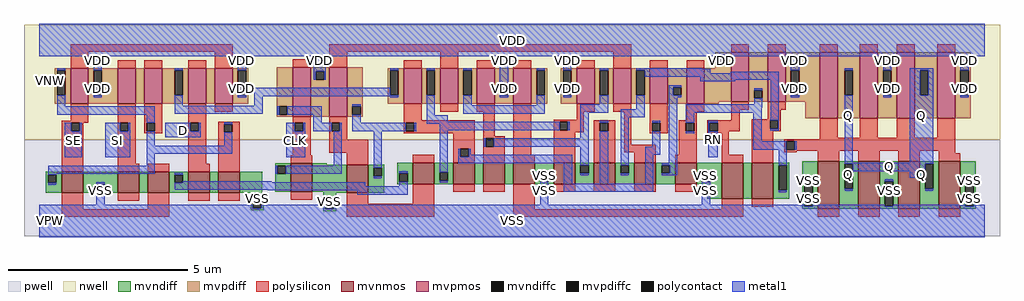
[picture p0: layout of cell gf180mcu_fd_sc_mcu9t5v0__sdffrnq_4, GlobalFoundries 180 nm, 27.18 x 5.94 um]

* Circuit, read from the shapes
.subckt gf180mcu_fd_sc_mcu9t5v0__sdffrnq_4 D RN SE SI CLK Q VDD VNW VPW VSS
XM1 VSS SE n1 VPW nfet_06v0 w=0.59u l=0.6u
XM2 n2 SI VSS VPW nfet_06v0 w=0.59u l=0.6u
XM3 n3 SE n2 VPW nfet_06v0 w=0.59u l=0.6u
XM4 n4 D n3 VPW nfet_06v0 w=0.59u l=0.6u
XM5 VSS n1 n4 VPW nfet_06v0 w=0.59u l=0.6u
XM6 VSS CLK n5 VPW nfet_06v0 w=0.79u l=0.6u
XM7 n6 n5 VSS VPW nfet_06v0 w=0.79u l=0.6u
XM8 n7 n5 n3 VPW nfet_06v0 w=0.59u l=0.6u
XM9 n8 n6 n7 VPW nfet_06v0 w=0.59u l=0.6u
XM10 n9 n10 n8 VPW nfet_06v0 w=0.59u l=0.6u
XM11 VSS RN n9 VPW nfet_06v0 w=0.59u l=0.6u
XM12 n10 n7 VSS VPW nfet_06v0 w=0.59u l=0.6u
XM13 n11 n6 n10 VPW nfet_06v0 w=0.59u l=0.6u
XM14 n12 n5 n11 VPW nfet_06v0 w=0.59u l=0.6u
XM15 VSS n13 n12 VPW nfet_06v0 w=0.59u l=0.6u
XM16 n14 RN VSS VPW nfet_06v0 w=1u l=0.6u
XM17 n13 n11 n14 VPW nfet_06v0 w=1u l=0.6u
XM18 Q n13 VSS VPW nfet_06v0 w=1.32u l=0.6u m=4
XM19 VDD SE n1 VNW pfet_06v0 w=1u l=0.5u
XM20 n15 SI VDD VNW pfet_06v0 w=1u l=0.5u
XM21 n16 n1 n15 VNW pfet_06v0 w=1u l=0.5u
XM22 n17 D n16 VNW pfet_06v0 w=1u l=0.5u
XM23 VDD SE n17 VNW pfet_06v0 w=1u l=0.5u
XM24 VDD CLK n5 VNW pfet_06v0 w=1.38u l=0.5u
XM25 n6 n5 VDD VNW pfet_06v0 w=1.38u l=0.5u
XM26 n7 n6 n16 VNW pfet_06v0 w=1u l=0.5u
XM27 n18 n5 n7 VNW pfet_06v0 w=1u l=0.5u
XM28 VDD n10 n18 VNW pfet_06v0 w=1u l=0.5u
XM29 n18 RN VDD VNW pfet_06v0 w=1u l=0.5u
XM30 n10 n7 VDD VNW pfet_06v0 w=1u l=0.5u
XM31 n11 n5 n10 VNW pfet_06v0 w=1u l=0.5u
XM32 n12 n6 n11 VNW pfet_06v0 w=1u l=0.5u
XM33 VDD n13 n12 VNW pfet_06v0 w=1u l=0.5u
XM34 n13 RN VDD VNW pfet_06v0 w=1.38u l=0.5u
XM35 VDD n11 n13 VNW pfet_06v0 w=1.38u l=0.5u
XM36 Q n13 VDD VNW pfet_06v0 w=1.83u l=0.5u m=4
.ends

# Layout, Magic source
magic
tech gf180mcuD
magscale 1 10
<< nwell >>
rect -86 453 5350 1094
<< pwell >>
rect -86 -86 5350 453
<< mvnmos >>
rect 124 156 244 274
rect 436 156 556 274
rect 604 156 724 274
rect 828 156 948 274
rect 996 156 1116 274
rect 1400 163 1520 321
rect 1712 156 1832 314
rect 2080 206 2200 324
rect 2304 206 2424 324
rect 2472 206 2592 324
rect 2640 206 2760 324
rect 2864 206 2984 324
rect 3088 206 3208 324
rect 3312 206 3432 324
rect 3540 206 3660 324
rect 3800 124 3920 324
rect 3968 124 4088 324
rect 4336 68 4456 332
rect 4560 68 4680 332
rect 4784 68 4904 332
rect 5008 68 5128 332
<< mvpmos >>
rect 173 652 273 852
rect 436 652 536 852
rect 584 652 684 852
rect 828 652 928 852
rect 976 652 1076 852
rect 1410 580 1510 856
rect 1614 580 1714 856
rect 2028 652 2128 852
rect 2232 652 2332 852
rect 2436 652 2536 852
rect 2640 652 2740 852
rect 2992 652 3092 852
rect 3196 652 3296 852
rect 3400 652 3500 852
rect 3604 652 3704 852
rect 3852 664 3952 940
rect 4056 664 4156 940
rect 4346 573 4446 939
rect 4570 573 4670 939
rect 4776 573 4876 939
rect 5000 573 5100 939
<< mvndiff >>
rect 1312 308 1400 321
rect 36 258 124 274
rect 36 212 49 258
rect 95 212 124 258
rect 36 156 124 212
rect 244 205 436 274
rect 244 159 317 205
rect 363 159 436 205
rect 244 156 436 159
rect 556 156 604 274
rect 724 258 828 274
rect 724 212 753 258
rect 799 212 828 258
rect 724 156 828 212
rect 948 156 996 274
rect 1116 156 1240 274
rect 1312 262 1325 308
rect 1371 262 1400 308
rect 1312 163 1400 262
rect 1520 314 1600 321
rect 1520 163 1712 314
rect 304 146 376 156
rect 1176 130 1240 156
rect 1176 118 1248 130
rect 1580 156 1712 163
rect 1832 296 1920 314
rect 1832 250 1861 296
rect 1907 250 1920 296
rect 1832 156 1920 250
rect 1992 265 2080 324
rect 1992 219 2005 265
rect 2051 219 2080 265
rect 1992 206 2080 219
rect 2200 271 2304 324
rect 2200 225 2229 271
rect 2275 225 2304 271
rect 2200 206 2304 225
rect 2424 206 2472 324
rect 2592 206 2640 324
rect 2760 265 2864 324
rect 2760 219 2789 265
rect 2835 219 2864 265
rect 2760 206 2864 219
rect 2984 311 3088 324
rect 2984 265 3013 311
rect 3059 265 3088 311
rect 2984 206 3088 265
rect 3208 311 3312 324
rect 3208 265 3237 311
rect 3283 265 3312 311
rect 3208 206 3312 265
rect 3432 311 3540 324
rect 3432 265 3465 311
rect 3511 265 3540 311
rect 3432 206 3540 265
rect 3660 265 3800 324
rect 3660 219 3689 265
rect 3735 219 3800 265
rect 3660 206 3800 219
rect 1176 72 1189 118
rect 1235 72 1248 118
rect 1176 59 1248 72
rect 1580 113 1652 156
rect 1580 67 1593 113
rect 1639 67 1652 113
rect 1580 54 1652 67
rect 3720 124 3800 206
rect 3920 124 3968 324
rect 4088 311 4176 324
rect 4088 171 4117 311
rect 4163 171 4176 311
rect 4088 124 4176 171
rect 4248 221 4336 332
rect 4248 81 4261 221
rect 4307 81 4336 221
rect 4248 68 4336 81
rect 4456 319 4560 332
rect 4456 179 4485 319
rect 4531 179 4560 319
rect 4456 68 4560 179
rect 4680 221 4784 332
rect 4680 81 4709 221
rect 4755 81 4784 221
rect 4680 68 4784 81
rect 4904 319 5008 332
rect 4904 179 4933 319
rect 4979 179 5008 319
rect 4904 68 5008 179
rect 5128 221 5216 332
rect 5128 81 5157 221
rect 5203 81 5216 221
rect 5128 68 5216 81
<< mvpdiff >>
rect 85 839 173 852
rect 85 699 98 839
rect 144 699 173 839
rect 85 652 173 699
rect 273 839 436 852
rect 273 699 302 839
rect 348 699 436 839
rect 273 652 436 699
rect 536 652 584 852
rect 684 839 828 852
rect 684 699 753 839
rect 799 699 828 839
rect 684 652 828 699
rect 928 652 976 852
rect 1076 839 1164 852
rect 1076 699 1105 839
rect 1151 699 1164 839
rect 1076 652 1164 699
rect 1322 639 1410 856
rect 1322 593 1335 639
rect 1381 593 1410 639
rect 1322 580 1410 593
rect 1510 834 1614 856
rect 1510 788 1539 834
rect 1585 788 1614 834
rect 1510 580 1614 788
rect 1714 639 1802 856
rect 3764 927 3852 940
rect 3764 881 3777 927
rect 3823 881 3852 927
rect 3764 852 3852 881
rect 1940 839 2028 852
rect 1940 699 1953 839
rect 1999 699 2028 839
rect 1940 652 2028 699
rect 2128 839 2232 852
rect 2128 699 2157 839
rect 2203 699 2232 839
rect 2128 652 2232 699
rect 2332 839 2436 852
rect 2332 699 2361 839
rect 2407 699 2436 839
rect 2332 652 2436 699
rect 2536 747 2640 852
rect 2536 701 2565 747
rect 2611 701 2640 747
rect 2536 652 2640 701
rect 2740 839 2828 852
rect 2740 699 2769 839
rect 2815 699 2828 839
rect 2740 652 2828 699
rect 2904 839 2992 852
rect 2904 699 2917 839
rect 2963 699 2992 839
rect 2904 652 2992 699
rect 3092 839 3196 852
rect 3092 699 3121 839
rect 3167 699 3196 839
rect 3092 652 3196 699
rect 3296 839 3400 852
rect 3296 699 3325 839
rect 3371 699 3400 839
rect 3296 652 3400 699
rect 3500 745 3604 852
rect 3500 699 3529 745
rect 3575 699 3604 745
rect 3500 652 3604 699
rect 3704 664 3852 852
rect 3952 729 4056 940
rect 3952 683 3981 729
rect 4027 683 4056 729
rect 3952 664 4056 683
rect 4156 939 4236 940
rect 4156 839 4346 939
rect 4156 699 4185 839
rect 4231 699 4346 839
rect 4156 664 4346 699
rect 3704 652 3784 664
rect 1714 593 1743 639
rect 1789 593 1802 639
rect 1714 580 1802 593
rect 4266 573 4346 664
rect 4446 839 4570 939
rect 4446 699 4485 839
rect 4531 699 4570 839
rect 4446 573 4570 699
rect 4670 839 4776 939
rect 4670 699 4699 839
rect 4745 699 4776 839
rect 4670 573 4776 699
rect 4876 839 5000 939
rect 4876 699 4905 839
rect 4951 699 5000 839
rect 4876 573 5000 699
rect 5100 839 5188 939
rect 5100 699 5129 839
rect 5175 699 5188 839
rect 5100 573 5188 699
<< mvndiffc >>
rect 49 212 95 258
rect 317 159 363 205
rect 753 212 799 258
rect 1325 262 1371 308
rect 1861 250 1907 296
rect 2005 219 2051 265
rect 2229 225 2275 271
rect 2789 219 2835 265
rect 3013 265 3059 311
rect 3237 265 3283 311
rect 3465 265 3511 311
rect 3689 219 3735 265
rect 1189 72 1235 118
rect 1593 67 1639 113
rect 4117 171 4163 311
rect 4261 81 4307 221
rect 4485 179 4531 319
rect 4709 81 4755 221
rect 4933 179 4979 319
rect 5157 81 5203 221
<< mvpdiffc >>
rect 98 699 144 839
rect 302 699 348 839
rect 753 699 799 839
rect 1105 699 1151 839
rect 1335 593 1381 639
rect 1539 788 1585 834
rect 3777 881 3823 927
rect 1953 699 1999 839
rect 2157 699 2203 839
rect 2361 699 2407 839
rect 2565 701 2611 747
rect 2769 699 2815 839
rect 2917 699 2963 839
rect 3121 699 3167 839
rect 3325 699 3371 839
rect 3529 699 3575 745
rect 3981 683 4027 729
rect 4185 699 4231 839
rect 1743 593 1789 639
rect 4485 699 4531 839
rect 4699 699 4745 839
rect 4905 699 4951 839
rect 5129 699 5175 839
<< polysilicon >>
rect 173 944 1076 984
rect 173 852 273 944
rect 436 852 536 896
rect 584 852 684 896
rect 828 852 928 896
rect 976 852 1076 944
rect 1614 944 3296 984
rect 1410 856 1510 900
rect 1614 856 1714 944
rect 173 559 273 652
rect 124 547 273 559
rect 436 547 536 652
rect 124 501 178 547
rect 224 501 244 547
rect 124 274 244 501
rect 436 501 449 547
rect 495 501 536 547
rect 436 318 536 501
rect 584 547 684 652
rect 584 501 597 547
rect 643 501 684 547
rect 584 488 684 501
rect 828 547 928 652
rect 976 608 1076 652
rect 2028 852 2128 896
rect 2232 852 2332 944
rect 2436 852 2536 896
rect 2640 852 2740 896
rect 2992 852 3092 896
rect 3196 852 3296 944
rect 3852 940 3952 984
rect 4056 940 4156 984
rect 3400 852 3500 896
rect 3604 852 3704 896
rect 4346 939 4446 983
rect 4570 939 4670 983
rect 4776 939 4876 983
rect 5000 939 5100 983
rect 828 501 841 547
rect 887 501 928 547
rect 828 318 928 501
rect 996 539 1116 552
rect 996 493 1029 539
rect 1075 493 1116 539
rect 436 274 556 318
rect 604 274 724 318
rect 828 274 948 318
rect 996 274 1116 493
rect 1410 547 1510 580
rect 1410 501 1423 547
rect 1469 501 1510 547
rect 1410 365 1510 501
rect 1614 547 1714 580
rect 1614 501 1627 547
rect 1673 501 1714 547
rect 1614 452 1714 501
rect 2028 560 2128 652
rect 2232 608 2332 652
rect 2436 608 2536 652
rect 2028 547 2424 560
rect 2028 501 2041 547
rect 2087 501 2424 547
rect 2028 488 2424 501
rect 1614 380 1832 452
rect 1400 321 1520 365
rect 1712 314 1832 380
rect 2304 403 2424 488
rect 2080 324 2200 368
rect 2304 357 2345 403
rect 2391 357 2424 403
rect 2304 324 2424 357
rect 2472 472 2536 608
rect 2472 460 2592 472
rect 2472 414 2485 460
rect 2531 414 2592 460
rect 2472 324 2592 414
rect 2640 368 2740 652
rect 2992 608 3092 652
rect 3196 608 3296 652
rect 2992 565 3032 608
rect 2864 552 3032 565
rect 2864 506 2897 552
rect 2943 506 3032 552
rect 2864 493 3032 506
rect 3088 547 3208 560
rect 3088 501 3121 547
rect 3167 501 3208 547
rect 2640 324 2760 368
rect 2864 324 2984 493
rect 3088 324 3208 501
rect 3256 424 3296 608
rect 3400 547 3500 652
rect 3604 608 3704 652
rect 3852 620 3952 664
rect 4056 620 4156 664
rect 3604 560 3660 608
rect 3852 560 3900 620
rect 4056 566 4128 620
rect 3400 501 3413 547
rect 3459 501 3500 547
rect 3400 488 3500 501
rect 3560 547 3660 560
rect 3560 501 3601 547
rect 3647 501 3660 547
rect 3256 384 3432 424
rect 3312 324 3432 384
rect 3560 368 3660 501
rect 3719 547 3900 560
rect 3719 501 3732 547
rect 3778 501 3900 547
rect 3719 500 3900 501
rect 3968 560 4128 566
rect 3968 514 4069 560
rect 4115 514 4128 560
rect 3968 501 4128 514
rect 3719 488 3840 500
rect 3540 324 3660 368
rect 3800 368 3840 488
rect 3800 324 3920 368
rect 3968 324 4088 501
rect 4346 464 4446 573
rect 4570 464 4670 573
rect 4776 464 4876 573
rect 5000 464 5100 573
rect 4346 456 5100 464
rect 4147 443 5100 456
rect 4147 397 4160 443
rect 4206 397 5100 443
rect 4147 392 5100 397
rect 4147 384 4218 392
rect 4336 332 4456 392
rect 4560 332 4680 392
rect 4784 332 4904 392
rect 5008 376 5100 392
rect 5008 332 5128 376
rect 124 64 244 156
rect 436 112 556 156
rect 604 64 724 156
rect 828 112 948 156
rect 996 112 1116 156
rect 1400 119 1520 163
rect 124 24 724 64
rect 1712 96 1832 156
rect 2080 96 2200 206
rect 2304 162 2424 206
rect 2472 162 2592 206
rect 1712 24 2200 96
rect 2640 64 2760 206
rect 2864 162 2984 206
rect 3088 162 3208 206
rect 3312 162 3432 206
rect 3540 162 3660 206
rect 3800 64 3920 124
rect 3968 80 4088 124
rect 2640 24 3920 64
rect 4336 24 4456 68
rect 4560 24 4680 68
rect 4784 24 4904 68
rect 5008 24 5128 68
<< polycontact >>
rect 178 501 224 547
rect 449 501 495 547
rect 597 501 643 547
rect 841 501 887 547
rect 1029 493 1075 539
rect 1423 501 1469 547
rect 1627 501 1673 547
rect 2041 501 2087 547
rect 2345 357 2391 403
rect 2485 414 2531 460
rect 2897 506 2943 552
rect 3121 501 3167 547
rect 3413 501 3459 547
rect 3601 501 3647 547
rect 3732 501 3778 547
rect 4069 514 4115 560
rect 4160 397 4206 443
<< metal1 >>
rect 0 927 5264 1098
rect 0 918 3777 927
rect 98 839 144 850
rect 98 639 144 699
rect 302 839 348 918
rect 302 688 348 699
rect 753 839 799 850
rect 753 642 799 699
rect 1105 839 1151 918
rect 1528 834 1596 918
rect 1528 788 1539 834
rect 1585 788 1596 834
rect 1953 839 1999 850
rect 1105 688 1151 699
rect 1197 699 1953 742
rect 1197 696 1999 699
rect 1197 642 1243 696
rect 1953 688 1999 696
rect 2157 839 2203 850
rect 98 593 643 639
rect 753 596 1243 642
rect 1743 639 1789 650
rect 1324 593 1335 639
rect 1381 593 1572 639
rect 597 547 643 593
rect 142 501 178 547
rect 224 501 235 547
rect 142 354 235 501
rect 366 501 449 547
rect 495 501 506 547
rect 366 354 506 501
rect 597 420 643 501
rect 702 501 841 547
rect 887 501 898 547
rect 702 466 898 501
rect 1029 539 1075 550
rect 1526 547 1572 593
rect 1743 547 1789 593
rect 2157 588 2203 699
rect 2361 839 2407 850
rect 2361 644 2407 699
rect 2565 747 2611 918
rect 2565 690 2611 701
rect 2769 839 2815 850
rect 2769 644 2815 699
rect 2917 839 2963 918
rect 3823 918 5264 927
rect 3777 870 3823 881
rect 2917 688 2963 699
rect 3121 839 3167 850
rect 3121 650 3167 699
rect 2361 598 2815 644
rect 3013 604 3167 650
rect 3325 849 3690 850
rect 3325 839 3736 849
rect 3371 824 3736 839
rect 4185 839 4231 918
rect 3849 824 4119 832
rect 3371 804 4119 824
rect 3680 786 4119 804
rect 3680 778 3875 786
rect 3325 623 3371 699
rect 2157 552 2274 588
rect 1029 420 1075 493
rect 597 374 1075 420
rect 1374 501 1423 547
rect 1469 501 1480 547
rect 1526 501 1627 547
rect 1673 501 1684 547
rect 1743 501 2041 547
rect 2087 501 2098 547
rect 2157 542 2897 552
rect 2229 506 2897 542
rect 2943 506 2954 552
rect 597 308 643 374
rect 1374 354 1480 501
rect 1638 308 1684 501
rect 49 262 643 308
rect 49 258 95 262
rect 753 258 799 269
rect 1314 262 1325 308
rect 1371 262 1684 308
rect 1861 296 1907 501
rect 49 201 95 212
rect 317 205 363 216
rect 1861 239 1907 250
rect 2005 265 2051 276
rect 799 216 1293 221
rect 799 212 1816 216
rect 753 193 1816 212
rect 2005 193 2051 219
rect 2229 271 2275 506
rect 3013 460 3059 604
rect 3237 577 3371 623
rect 3505 745 3575 756
rect 3505 699 3529 745
rect 3505 688 3575 699
rect 3981 729 4027 740
rect 2474 414 2485 460
rect 2531 414 3059 460
rect 2334 357 2345 403
rect 2391 368 2402 403
rect 2391 357 2967 368
rect 2334 322 2967 357
rect 2229 214 2275 225
rect 2789 265 2835 276
rect 753 175 2051 193
rect 1272 170 2051 175
rect 317 90 363 159
rect 1771 147 2051 170
rect 1189 118 1235 129
rect 0 72 1189 90
rect 1593 113 1639 124
rect 1235 72 1593 90
rect 0 67 1593 72
rect 2789 90 2835 219
rect 2921 208 2967 322
rect 3013 311 3059 414
rect 3013 254 3059 265
rect 3121 547 3167 558
rect 3121 208 3167 501
rect 3237 311 3283 577
rect 3413 547 3459 558
rect 3413 414 3459 501
rect 3237 254 3283 265
rect 3373 368 3459 414
rect 3373 208 3419 368
rect 3505 322 3551 688
rect 3981 650 4027 683
rect 3601 631 4027 650
rect 3601 604 4023 631
rect 3601 547 3647 604
rect 3601 490 3647 501
rect 3726 547 3778 558
rect 3726 501 3732 547
rect 3726 354 3778 501
rect 3977 443 4023 604
rect 4073 571 4119 786
rect 4185 688 4231 699
rect 4485 839 4531 850
rect 4069 560 4119 571
rect 4115 514 4119 560
rect 4069 503 4119 514
rect 3977 397 4160 443
rect 4206 397 4217 443
rect 3465 311 3551 322
rect 3511 265 3551 311
rect 4117 311 4163 397
rect 3465 254 3551 265
rect 3689 265 3735 276
rect 2921 162 3419 208
rect 3689 90 3735 219
rect 4485 324 4531 699
rect 4699 839 4745 918
rect 4699 688 4745 699
rect 4846 839 4979 850
rect 4846 699 4905 839
rect 4951 699 4979 839
rect 4846 324 4979 699
rect 5129 839 5175 918
rect 5129 688 5175 699
rect 4485 319 4979 324
rect 4117 160 4163 171
rect 4261 221 4307 232
rect 1639 81 4261 90
rect 4531 278 4933 319
rect 4846 242 4933 278
rect 4485 168 4531 179
rect 4709 221 4755 232
rect 4307 81 4709 90
rect 4933 168 4979 179
rect 5157 221 5203 232
rect 4755 81 5157 90
rect 5203 81 5264 90
rect 1639 67 5264 81
rect 0 -90 5264 67
<< labels >>
flabel metal1 s 1374 354 1480 547 0 FreeSans 200 0 0 0 CLK
port 5 nsew clock input
flabel metal1 s 702 466 898 547 0 FreeSans 200 0 0 0 D
port 1 nsew default input
flabel metal1 s 4846 324 4979 850 0 FreeSans 200 0 0 0 Q
port 6 nsew default output
flabel metal1 s 3726 354 3778 558 0 FreeSans 200 0 0 0 RN
port 2 nsew default input
flabel metal1 s 142 354 235 547 0 FreeSans 200 0 0 0 SE
port 3 nsew default input
flabel metal1 s 366 354 506 547 0 FreeSans 200 0 0 0 SI
port 4 nsew default input
flabel metal1 s 0 918 5264 1098 0 FreeSans 200 0 0 0 VDD
port 7 nsew power bidirectional abutment
flabel metal1 s 3689 232 3735 276 0 FreeSans 200 0 0 0 VSS
port 10 nsew ground bidirectional abutment
flabel nwell s 10 734 110 834 0 FreeSans 400 0 0 0 VNW
port 8 nsew power bidirectional
flabel pwell s 10 -50 110 50 0 FreeSans 400 0 0 0 VPW
port 9 nsew ground bidirectional
rlabel metal1 s 4485 324 4531 850 1 Q
port 6 nsew default output
rlabel metal1 s 4485 278 4979 324 1 Q
port 6 nsew default output
rlabel metal1 s 4846 242 4979 278 1 Q
port 6 nsew default output
rlabel metal1 s 4485 242 4531 278 1 Q
port 6 nsew default output
rlabel metal1 s 4933 168 4979 242 1 Q
port 6 nsew default output
rlabel metal1 s 4485 168 4531 242 1 Q
port 6 nsew default output
rlabel metal1 s 5129 870 5175 918 1 VDD
port 7 nsew power bidirectional abutment
rlabel metal1 s 4699 870 4745 918 1 VDD
port 7 nsew power bidirectional abutment
rlabel metal1 s 4185 870 4231 918 1 VDD
port 7 nsew power bidirectional abutment
rlabel metal1 s 3777 870 3823 918 1 VDD
port 7 nsew power bidirectional abutment
rlabel metal1 s 2917 870 2963 918 1 VDD
port 7 nsew power bidirectional abutment
rlabel metal1 s 2565 870 2611 918 1 VDD
port 7 nsew power bidirectional abutment
rlabel metal1 s 1528 870 1596 918 1 VDD
port 7 nsew power bidirectional abutment
rlabel metal1 s 1105 870 1151 918 1 VDD
port 7 nsew power bidirectional abutment
rlabel metal1 s 302 870 348 918 1 VDD
port 7 nsew power bidirectional abutment
rlabel metal1 s 5129 788 5175 870 1 VDD
port 7 nsew power bidirectional abutment
rlabel metal1 s 4699 788 4745 870 1 VDD
port 7 nsew power bidirectional abutment
rlabel metal1 s 4185 788 4231 870 1 VDD
port 7 nsew power bidirectional abutment
rlabel metal1 s 2917 788 2963 870 1 VDD
port 7 nsew power bidirectional abutment
rlabel metal1 s 2565 788 2611 870 1 VDD
port 7 nsew power bidirectional abutment
rlabel metal1 s 1528 788 1596 870 1 VDD
port 7 nsew power bidirectional abutment
rlabel metal1 s 1105 788 1151 870 1 VDD
port 7 nsew power bidirectional abutment
rlabel metal1 s 302 788 348 870 1 VDD
port 7 nsew power bidirectional abutment
rlabel metal1 s 5129 690 5175 788 1 VDD
port 7 nsew power bidirectional abutment
rlabel metal1 s 4699 690 4745 788 1 VDD
port 7 nsew power bidirectional abutment
rlabel metal1 s 4185 690 4231 788 1 VDD
port 7 nsew power bidirectional abutment
rlabel metal1 s 2917 690 2963 788 1 VDD
port 7 nsew power bidirectional abutment
rlabel metal1 s 2565 690 2611 788 1 VDD
port 7 nsew power bidirectional abutment
rlabel metal1 s 1105 690 1151 788 1 VDD
port 7 nsew power bidirectional abutment
rlabel metal1 s 302 690 348 788 1 VDD
port 7 nsew power bidirectional abutment
rlabel metal1 s 5129 688 5175 690 1 VDD
port 7 nsew power bidirectional abutment
rlabel metal1 s 4699 688 4745 690 1 VDD
port 7 nsew power bidirectional abutment
rlabel metal1 s 4185 688 4231 690 1 VDD
port 7 nsew power bidirectional abutment
rlabel metal1 s 2917 688 2963 690 1 VDD
port 7 nsew power bidirectional abutment
rlabel metal1 s 1105 688 1151 690 1 VDD
port 7 nsew power bidirectional abutment
rlabel metal1 s 302 688 348 690 1 VDD
port 7 nsew power bidirectional abutment
rlabel metal1 s 2789 232 2835 276 1 VSS
port 10 nsew ground bidirectional abutment
rlabel metal1 s 5157 216 5203 232 1 VSS
port 10 nsew ground bidirectional abutment
rlabel metal1 s 4709 216 4755 232 1 VSS
port 10 nsew ground bidirectional abutment
rlabel metal1 s 4261 216 4307 232 1 VSS
port 10 nsew ground bidirectional abutment
rlabel metal1 s 3689 216 3735 232 1 VSS
port 10 nsew ground bidirectional abutment
rlabel metal1 s 2789 216 2835 232 1 VSS
port 10 nsew ground bidirectional abutment
rlabel metal1 s 5157 129 5203 216 1 VSS
port 10 nsew ground bidirectional abutment
rlabel metal1 s 4709 129 4755 216 1 VSS
port 10 nsew ground bidirectional abutment
rlabel metal1 s 4261 129 4307 216 1 VSS
port 10 nsew ground bidirectional abutment
rlabel metal1 s 3689 129 3735 216 1 VSS
port 10 nsew ground bidirectional abutment
rlabel metal1 s 2789 129 2835 216 1 VSS
port 10 nsew ground bidirectional abutment
rlabel metal1 s 317 129 363 216 1 VSS
port 10 nsew ground bidirectional abutment
rlabel metal1 s 5157 124 5203 129 1 VSS
port 10 nsew ground bidirectional abutment
rlabel metal1 s 4709 124 4755 129 1 VSS
port 10 nsew ground bidirectional abutment
rlabel metal1 s 4261 124 4307 129 1 VSS
port 10 nsew ground bidirectional abutment
rlabel metal1 s 3689 124 3735 129 1 VSS
port 10 nsew ground bidirectional abutment
rlabel metal1 s 2789 124 2835 129 1 VSS
port 10 nsew ground bidirectional abutment
rlabel metal1 s 1189 124 1235 129 1 VSS
port 10 nsew ground bidirectional abutment
rlabel metal1 s 317 124 363 129 1 VSS
port 10 nsew ground bidirectional abutment
rlabel metal1 s 5157 90 5203 124 1 VSS
port 10 nsew ground bidirectional abutment
rlabel metal1 s 4709 90 4755 124 1 VSS
port 10 nsew ground bidirectional abutment
rlabel metal1 s 4261 90 4307 124 1 VSS
port 10 nsew ground bidirectional abutment
rlabel metal1 s 3689 90 3735 124 1 VSS
port 10 nsew ground bidirectional abutment
rlabel metal1 s 2789 90 2835 124 1 VSS
port 10 nsew ground bidirectional abutment
rlabel metal1 s 1593 90 1639 124 1 VSS
port 10 nsew ground bidirectional abutment
rlabel metal1 s 1189 90 1235 124 1 VSS
port 10 nsew ground bidirectional abutment
rlabel metal1 s 317 90 363 124 1 VSS
port 10 nsew ground bidirectional abutment
rlabel metal1 s 0 -90 5264 90 1 VSS
port 10 nsew ground bidirectional abutment
<< properties >>
string FIXED_BBOX 0 0 5264 1008
string GDS_END 367660
string GDS_FILE $PDKPATH/libs.ref/gf180mcu_fd_sc_mcu9t5v0/gds/gf180mcu_fd_sc_mcu9t5v0.gds
string GDS_START 355452
string LEFclass core
string LEFsite GF018hv5v_green_sc9
string LEFsymmetry X Y
<< end >>
